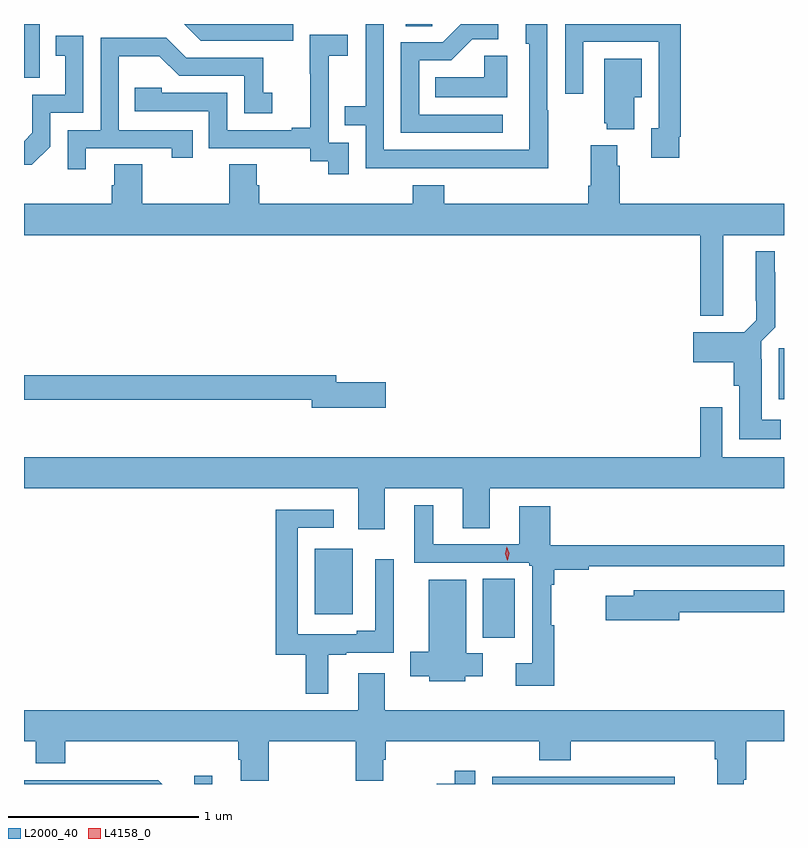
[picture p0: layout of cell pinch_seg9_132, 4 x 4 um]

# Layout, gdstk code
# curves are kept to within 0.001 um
import gdstk
lib = gdstk.Library(unit=1e-6, precision=1e-09)
def R(c, l, rs):  # rectangles x0, y0, x1, y1
    for r in rs: c.add(gdstk.rectangle(r[:2], r[2:], *l))
def P(c, l, *ps):  # polygons
    for p in ps: c.add(gdstk.Polygon(p, *l))
L2000_40 = (2000, 40)
L4158_0 = (4158, 0)

pinch_seg9_132 = lib.new_cell('pinch_seg9_132')
R(pinch_seg9_132, L2000_40, [(781.662,1214.843,781.759,1214.887), (783.182,1215.613,783.349,1215.923), (782.297,1215.737,782.497,1216.081), (784.739,1216.869,784.767,1217.137), (780.767,1218.561,780.849,1218.843), (782.777,1218.832,782.916,1218.843)])
P(pinch_seg9_132, L2000_40, [(783.286,1218.366),(782.847,1218.366),(782.847,1218.651),(783.016,1218.651),(783.127,1218.762),(783.262,1218.762),(783.262,1218.843),(783.066,1218.843),(782.97,1218.747),(782.751,1218.747),(782.751,1218.27),(783.286,1218.27)],
  [(783.525,1218.389),(783.522,1218.389),(783.522,1218.843),(783.407,1218.843),(783.407,1218.738),(783.426,1218.738),(783.426,1218.18),(782.661,1218.18),(782.661,1218.843),(782.565,1218.843),(782.565,1218.41),(782.455,1218.41),(782.455,1218.309),(782.565,1218.309),(782.565,1218.084),(783.061,1218.084),(783.061,1218.083),(783.525,1218.083)],
  [(782.184,1218.843),(781.611,1218.843),(781.698,1218.756),(782.184,1218.756)],
  [(784.216,1218.25),(784.223,1218.25),(784.223,1218.843),(783.615,1218.843),(783.615,1218.477),(783.711,1218.477),(783.711,1218.75),(784.107,1218.75),(784.107,1218.294),(784.067,1218.294),(784.067,1218.138),(784.216,1218.138)],
  [(782.475,1218.219),(782.37,1218.219),(782.37,1218.449),(782.372,1218.449),(782.372,1218.677),(782.47,1218.677),(782.47,1218.787),(782.272,1218.787),(782.272,1218.581),(782.273,1218.581),(782.273,1218.298),(782.177,1218.298),(782.177,1218.285),(781.836,1218.285),(781.836,1218.48),(781.491,1218.48),(781.491,1218.507),(781.351,1218.507),(781.351,1218.384),(781.74,1218.384),(781.74,1218.189),(782.274,1218.189),(782.274,1218.121),(782.367,1218.121),(782.367,1218.051),(782.475,1218.051)],
  [(780.906,1218.198),(780.906,1218.375),(781.08,1218.375),(781.08,1218.781),(780.934,1218.781),(780.934,1218.675),(780.983,1218.675),(780.983,1218.471),(780.81,1218.471),(780.81,1218.27),(780.767,1218.227),(780.767,1218.101),(780.808,1218.101)],
  [(781.093,1218.189),(781.544,1218.189),(781.544,1218.138),(781.655,1218.138),(781.655,1218.285),(781.266,1218.285),(781.266,1218.674),(781.48,1218.674),(781.584,1218.57),(781.926,1218.57),(781.926,1218.372),(782.074,1218.372),(782.074,1218.481),(782.025,1218.481),(782.025,1218.666),(781.621,1218.666),(781.516,1218.771),(781.17,1218.771),(781.17,1218.285),(780.996,1218.285),(780.996,1218.078),(781.093,1218.078)],
  [(783.31,1218.677),(783.189,1218.677),(783.189,1218.562),(782.932,1218.562),(782.932,1218.458),(783.31,1218.458)],
  [(783.979,1218.458),(784.018,1218.458),(784.018,1218.661),(783.821,1218.661),(783.821,1218.321),(783.833,1218.321),(783.833,1218.29),(783.979,1218.29)],
  [(784.447,1217.732),(784.767,1217.732),(784.767,1217.896),(783.902,1217.896),(783.902,1218.098),(783.889,1218.098),(783.889,1218.205),(783.749,1218.205),(783.749,1217.992),(783.737,1217.992),(783.737,1217.896),(782.978,1217.896),(782.978,1217.995),(782.813,1217.995),(782.813,1217.896),(782.006,1217.896),(782.006,1217.994),(781.993,1217.994),(781.993,1218.104),(781.846,1218.104),(781.846,1217.896),(781.389,1217.896),(781.389,1218.104),(781.241,1218.104),(781.241,1217.994),(781.229,1217.994),(781.229,1217.896),(780.767,1217.896),(780.767,1217.732),(784.325,1217.732),(784.325,1217.307),(784.447,1217.307)],
  [(784.75,1216.759),(784.651,1216.759),(784.651,1217.078),(784.647,1217.078),(784.647,1217.172),(784.721,1217.246),(784.721,1217.537),(784.717,1217.537),(784.717,1217.647),(784.619,1217.647),(784.62,1217.284),(784.557,1217.221),(784.29,1217.221),(784.29,1217.063),(784.502,1217.063),(784.502,1216.938),(784.532,1216.938),(784.532,1216.658),(784.75,1216.658)],
  [(782.671,1216.958),(782.41,1216.958),(782.41,1216.994),(780.767,1216.994),(780.767,1216.866),(782.282,1216.866),(782.282,1216.823),(782.671,1216.823)],
  [(782.665,1216.4),(783.077,1216.4),(783.077,1216.189),(783.217,1216.189),(783.217,1216.4),(784.767,1216.4),(784.767,1216.564),(784.443,1216.564),(784.443,1216.825),(784.327,1216.825),(784.327,1216.564),(780.767,1216.564),(780.767,1216.4),(782.525,1216.4),(782.525,1216.185),(782.665,1216.185)],
  [(783.557,1215.678),(783.542,1215.678),(783.542,1215.893),(783.557,1215.893),(783.557,1215.97),(783.74,1215.97),(783.74,1215.99),(784.767,1215.99),(784.767,1216.099),(783.538,1216.099),(783.538,1216.306),(783.374,1216.306),(783.374,1216.104),(782.92,1216.104),(782.92,1216.309),(782.822,1216.309),(782.822,1216.008),(783.426,1216.008),(783.426,1215.993),(783.441,1215.993),(783.441,1215.478),(783.354,1215.478),(783.354,1215.359),(783.557,1215.359)],
  [(782.368,1215.522),(782.464,1215.522),(782.464,1215.534),(782.714,1215.534),(782.714,1216.027),(782.616,1216.027),(782.616,1215.65),(782.519,1215.65),(782.519,1215.63),(782.208,1215.63),(782.208,1216.191),(782.398,1216.191),(782.398,1216.287),(782.092,1216.287),(782.092,1215.522),(782.251,1215.522),(782.251,1215.317),(782.368,1215.317)],
  [(783.09,1215.41),(783.181,1215.41),(783.181,1215.532),(783.094,1215.532),(783.094,1215.919),(782.897,1215.919),(782.897,1215.54),(782.801,1215.54),(782.801,1215.41),(782.901,1215.41),(782.901,1215.383),(783.09,1215.383)],
  [(784.216,1215.748),(784.767,1215.748),(784.767,1215.864),(783.977,1215.864),(783.977,1215.835),(783.828,1215.835),(783.828,1215.706),(784.216,1215.706)],
  [(782.665,1215.427),(782.525,1215.427),(782.525,1215.232),(780.767,1215.232),(780.767,1215.068),(780.83,1215.068),(780.83,1214.951),(780.983,1214.951),(780.983,1215.068),(781.895,1215.068),(781.895,1214.97),(781.907,1214.97),(781.907,1214.86),(782.055,1214.86),(782.055,1215.068),(782.512,1215.068),(782.512,1214.86),(782.659,1214.86),(782.659,1214.97),(782.672,1214.97),(782.672,1215.068),(783.479,1215.068),(783.479,1214.969),(783.644,1214.969),(783.644,1215.068),(784.403,1215.068),(784.403,1214.972),(784.415,1214.972),(784.415,1214.843),(784.555,1214.843),(784.555,1214.866),(784.568,1214.866),(784.568,1215.068),(784.767,1215.068),(784.767,1215.232),(782.665,1215.232)],
  [(783.141,1214.914),(783.033,1214.914),(783.033,1214.844),(782.94,1214.844),(782.94,1214.843),(783.141,1214.843)],
  [(784.191,1214.882),(783.727,1214.882),(783.727,1214.88),(783.231,1214.88),(783.231,1214.843),(784.191,1214.843)],
  [(781.474,1214.864),(781.066,1214.864),(781.066,1214.862),(780.767,1214.862),(780.767,1214.843),(781.495,1214.843)])
P(pinch_seg9_132, L4158_0, [(783.311,1216.021),(783.3,1216.056),(783.309,1216.092),(783.309,1216.093),(783.309,1216.092),(783.32,1216.057),(783.312,1216.021),(783.312,1216.021)])

lib.write_gds('pinch_seg9_132.gds')
